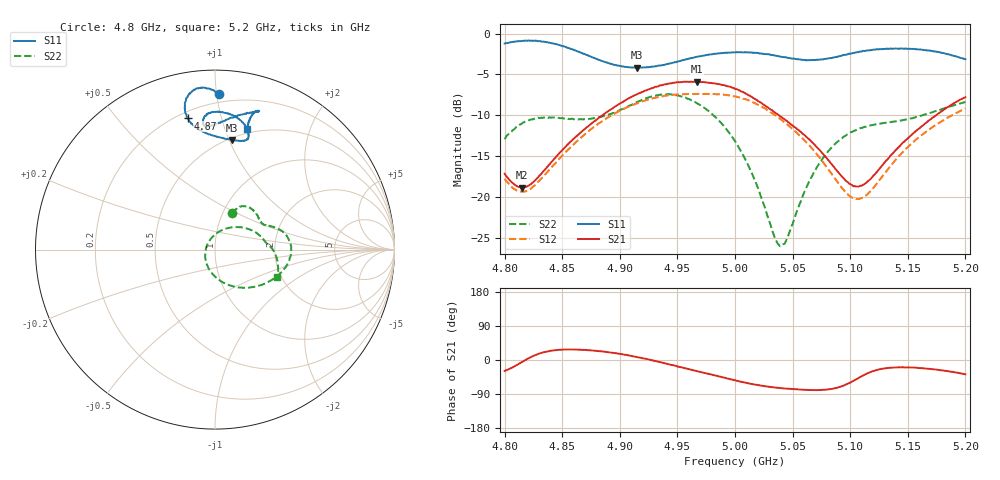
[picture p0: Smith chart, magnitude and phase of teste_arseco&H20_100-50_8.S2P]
! Network Analyzer HP8722D
! Hewlett-Packard
! Data name: Linha & Wilkinson
! Saver's name: Rodrigo Anjos
! Comments: Teste da utilização de aquisição
! continua pelo VNA HP8722D
! Time and date: 6/5/2025 12:38
!  Frequency  S11  S21  S12  S22
# HZ  S  MA R 50
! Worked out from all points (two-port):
!   401 points, 4.8 GHz to 5.2 GHz, reference 50 ohm
!   highest |S21| = -5.88 dB at 4.967 GHz (marker M1); lowest = -18.9 dB at 4.815 GHz (marker M2)
!   |S21| within 3 dB of the highest: 4.897 GHz to 5.027 GHz (129.9 MHz wide, 2.62 % of centre); 5.186245 GHz to end of sweep
!   lowest |S11| = -4.2 dB at 4.915 GHz (marker M3), VSWR 4.23, Z = 26 + j51.2 ohm
!   |S11| at or under -10 dB: nowhere
!   |S22| runs from -26.1 to -7.4 dB; largest |S21 - S12| = 0.88
!   S11 on the Smith chart (normalised r, x): 4.8 GHz: 0.14, +1.01; 4.87 GHz: 0.24, +0.79; 5.2 GHz: 0.46, +1.20
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4.8e9  0.8696 88.7  0.1386 -28.9  0.1288 99.7  0.2254 65.1
4.815e9  0.9011 93.1  0.1138 -5.6  0.1073 120.0  0.2811 58.7
4.844e9  0.8634 100.3  0.1738 25.8  0.16 150.6  0.3043 41.3
4.867e9  0.7584 102.0  0.2511 26.7  0.2322 154.8  0.2984 30.9
4.87e9  0.7459 101.7  0.2612 26.7  0.2425 154.7  0.2988 30.2
4.915e9  0.6173 81.2  0.4249 7.7  0.3738 141.6  0.3804 16.7
4.934e9  0.6364 74.1  0.4771 -4.9  0.4105 131.2  0.4206 4.8
4.951e9  0.6759 74.1  0.5039 -17.6  0.4229 120.6  0.4164 -8.9
4.967e9  0.7206 77.2  0.5081 -29.3  0.426 110.6  0.3741 -23.8
4.985e9  0.7561 82.7  0.4907 -42.5  0.4249 98.7  0.2979 -44.3
5e9  0.767 87.5  0.4579 -53.7  0.4119 88.0  0.2187 -66.5
5.02e9  0.7608 92.9  0.3855 -66.5  0.3665 74.5  0.1123 -107.6
5.034e9  0.7361 94.8  0.3301 -72.4  0.3187 66.8  0.0575 -160.6
5.039e9  0.7227 95.3  0.3115 -74.0  0.3005 64.6  0.04978 168.4
5.045e9  0.7129 95.3  0.2913 -75.8  0.2784 62.4  0.05518 129.8
5.067e9  0.6876 93.0  0.2152 -79.2  0.197 58.6  0.1342 61.2
5.085e9  0.7133 87.2  0.1546 -75.8  0.1346 64.0  0.205 36.1
5.104e9  0.7626 79.5  0.1163 -53.0  0.09745 90.2  0.2539 19.8
5.115e9  0.788 75.7  0.1238 -35.0  0.1035 110.0  0.2712 13.8
5.134e9  0.8055 72.7  0.1744 -20.6  0.1511 126.4  0.2858 7.9
5.17e9  0.785 74.4  0.2986 -23.8  0.263 122.1  0.3277 -1.4
5.2e9  0.6966 75.0  0.4069 -37.8  0.3474 110.7  0.3801 -23.9
